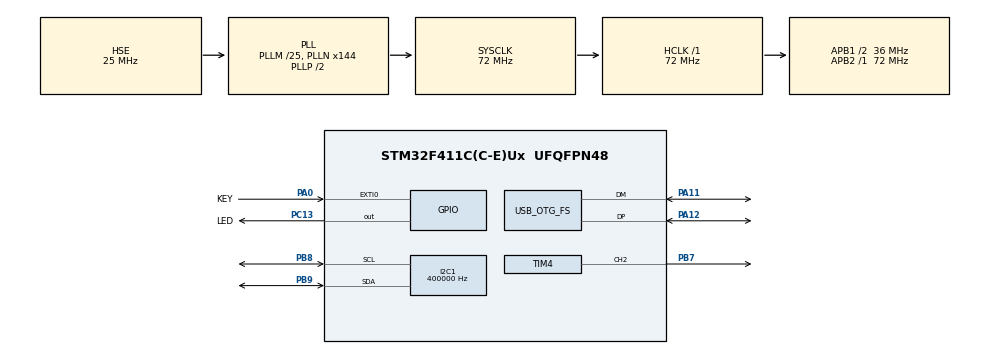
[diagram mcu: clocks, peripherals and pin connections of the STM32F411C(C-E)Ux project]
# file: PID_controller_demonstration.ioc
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Dma.I2C1_RX.0.Direction=DMA_PERIPH_TO_MEMORY
Dma.I2C1_RX.0.FIFOMode=DMA_FIFOMODE_DISABLE
Dma.I2C1_RX.0.Instance=DMA1_Stream0
Dma.I2C1_RX.0.MemDataAlignment=DMA_MDATAALIGN_BYTE
Dma.I2C1_RX.0.MemInc=DMA_MINC_ENABLE
Dma.I2C1_RX.0.Mode=DMA_NORMAL
Dma.I2C1_RX.0.PeriphDataAlignment=DMA_PDATAALIGN_BYTE
Dma.I2C1_RX.0.PeriphInc=DMA_PINC_DISABLE
Dma.I2C1_RX.0.Priority=DMA_PRIORITY_VERY_HIGH
Dma.Request0=I2C1_RX
I2C1.ClockSpeed=400000
I2C1.I2C_Mode=I2C_Fast
Mcu.Family=STM32F4
Mcu.Name=STM32F411C(C-E)Ux
Mcu.Package=UFQFPN48
NVIC.DMA1_Stream0_IRQn=true\:0\:0\:false\:false\:true\:false\:true\:true
NVIC.EXTI0_IRQn=true\:0\:0\:false\:false\:true\:true\:true\:true
NVIC.FLASH_IRQn=true\:0\:0\:false\:false\:true\:true\:true\:true
NVIC.FPU_IRQn=true\:0\:0\:false\:false\:true\:true\:false\:true
NVIC.I2C1_ER_IRQn=true\:0\:0\:false\:false\:true\:true\:true\:true
NVIC.I2C1_EV_IRQn=true\:0\:0\:false\:false\:true\:true\:true\:true
NVIC.OTG_FS_IRQn=true\:0\:0\:false\:false\:true\:true\:true\:true
NVIC.PriorityGroup=NVIC_PRIORITYGROUP_4
NVIC.TIM3_IRQn=true\:0\:0\:false\:false\:true\:true\:true\:true
PA0-WKUP.GPIO_Label=KEY
PA0-WKUP.GPIO_ModeDefaultEXTI=GPIO_MODE_IT_RISING_FALLING
PA0-WKUP.GPIO_PuPd=GPIO_PULLUP
PA0-WKUP.Signal=GPXTI0
PA11.Mode=Device_Only
PA11.Signal=USB_OTG_FS_DM
PA12.Mode=Device_Only
PA12.Signal=USB_OTG_FS_DP
PA13.Mode=Serial_Wire
PA13.Signal=SYS_JTMS-SWDIO
PA14.Mode=Serial_Wire
PA14.Signal=SYS_JTCK-SWCLK
PB7.Signal=S_TIM4_CH2
PB8.GPIO_Pu=GPIO_PULLUP
PB8.Mode=I2C
PB8.Signal=I2C1_SCL
PB9.GPIO_Pu=GPIO_PULLUP
PB9.Mode=I2C
PB9.Signal=I2C1_SDA
PC13-ANTI_TAMP.GPIO_Label=LED
PC13-ANTI_TAMP.GPIO_ModeDefaultOutputPP=GPIO_MODE_OUTPUT_OD
PC13-ANTI_TAMP.Signal=GPIO_Output
PH0\ -\ OSC_IN.Mode=HSE-External-Oscillator
PH0\ -\ OSC_IN.Signal=RCC_OSC_IN
PH1\ -\ OSC_OUT.Mode=HSE-External-Oscillator
PH1\ -\ OSC_OUT.Signal=RCC_OSC_OUT
ProjectManager.HeapSize=0x200
ProjectManager.StackSize=0x400
ProjectManager.TargetToolchain=MDK-ARM V5.32
RCC.48MHZClocksFreq_Value=48000000
RCC.AHBFreq_Value=72000000
RCC.APB1CLKDivider=RCC_HCLK_DIV2
RCC.APB1Freq_Value=36000000
RCC.APB1TimFreq_Value=72000000
RCC.APB2Freq_Value=72000000
RCC.APB2TimFreq_Value=72000000
RCC.CortexFreq_Value=72000000
RCC.HCLKFreq_Value=72000000
RCC.HSE_VALUE=25000000
RCC.HSI_VALUE=16000000
RCC.LSE_VALUE=32768
RCC.PLLM=25
RCC.PLLN=144
RCC.PLLQ=3
RCC.SYSCLKFreq_VALUE=72000000
RCC.SYSCLKSource=RCC_SYSCLKSOURCE_PLLCLK
RCC.VCOOutputFreq_Value=144000000
SH.S_TIM4_CH2.0=TIM4_CH2,PWM Generation2 CH2
TIM3.Prescaler=72-1
TIM4.AutoReloadPreload=TIM_AUTORELOAD_PRELOAD_DISABLE
TIM4.Channel-PWM\ Generation2\ CH2=TIM_CHANNEL_2
TIM4.Period=0
TIM4.Prescaler=6-1
TIM4.Pulse-PWM\ Generation2\ CH2=0
USB_DEVICE.CLASS_NAME_FS=CDC
USB_DEVICE.VirtualMode=Cdc
USB_DEVICE.VirtualModeFS=Cdc_FS
USB_OTG_FS.VirtualMode=Device_Only
VP_TIM3_VS_ClockSourceINT.Mode=Internal
VP_TIM4_VS_ClockSourceINT.Mode=Internal
VP_USB_DEVICE_VS_USB_DEVICE_CDC_FS.Mode=CDC_FS
board=custom

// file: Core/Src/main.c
/* USER CODE BEGIN Header */
/**
  ******************************************************************************
  * @file           : main.c
  * @brief          : Main program body
  ******************************************************************************
  * @attention
  *
  * <h2><center>&copy; Copyright (c) 2024 STMicroelectronics.
  * All rights reserved.</center></h2>
  *
  * This software component is licensed by ST under BSD 3-Clause license,
  * the "License"; You may not use this file except in compliance with the
  * License. You may obtain a copy of the License at:
  *                        opensource.org/licenses/BSD-3-Clause
  *
  ******************************************************************************
  */
/* USER CODE END Header */
#include "main.h"
#include "dma.h"
#include "i2c.h"
#include "tim.h"
#include "usb_device.h"
#include "gpio.h"

/* USER CODE BEGIN Includes */
#include <stdio.h>
#include <string.h>
#include <math.h>
#include "MATRIX.h"
#include "MICROS.h"
#include "MPU6050.h"
#include "usbd_cdc.h"
#include "usbd_cdc_if.h"

#include "dsp/fast_math_functions.h"

/* USER CODE END Includes */

/* USER CODE BEGIN PV */

float ACx, ACy, ACz, GYx, GYy, GYz, GYxPrev, GYyPrev, GYzPrev, MAGx, MAGy, MAGz,
	accTotal, gyroTotal, magTotal,
	beamAngle, beamAngleTau = 0.001;
uint8_t accGyroMagOverload;
const uint16_t PCazimuth = 345;

struct microsPeriod cyclePeriod = {0, 0}, accGyroPeriod = {0, 0};

const uint16_t timMin = 12000, timMax = 24000, timSpan = timMax - timMin;
//float kp = 10, ki = 0.001, kd = 5, ks = 700;
float kp = 1.2964, ki = 2, kd = 0.1604, ks = 700;
float P = 0, I = 0, D = 0, S = 0;
float reqAngle = 90, error = 0;
float Ilim = 2;
float Plim = 1;
float Dsigma = 45;
float PIDsumTau = 0.001, PIDsum = 0, PIDnormedKoef = 0, PIDsumTmp = 0, thrustPortion = 0;
float accWeight = 2e-04;

MPU6050_DATA_STRUCTURE MPU6050entity1 = {
	.i2cHandle = &hi2c1, .i2cAddress = 0x68<<1,
	.accRawDataBuffer = {0}, .gyroRawDataBuffer = {0},
	.MPU6050state = 0, .overload = 0,
	.accRequestPeriodUs = 10000, .gyroRequestPeriodUs = 2000,
	.accPrevRequestUs = 0, .gyroPrevRequestUs = 0,
	.filterTauUs = 1000, .accPrevFilterUs = 0, .gyroPrevFilterUs = 0,
	.processedDataReady = 0,
	.accDataRequest = 0, .gyroDataRequest = 0,
	.compensatorACx = {1, 0}, .compensatorACy = {1, 0}, .compensatorACz = {1, 0},
	.compensatorGYx = {1, 0}, .compensatorGYy = {1, 0}, .compensatorGYz = {1, 0},
	.ACx = 0, .ACy = 0, .ACz = 0, .GYx = 0, .GYy = 0, .GYz = 0
	#ifdef DEBUG
	, .accMesCnt = 0, .gyroMesCnt = 0,.initMicros = 0
	#endif
};

#define RX_BUF_SIZE 64
const uint8_t RxBufSize = RX_BUF_SIZE;
uint8_t RxBuf[RX_BUF_SIZE], protectFromWrite = 0, RxPayload[RX_BUF_SIZE];

typedef enum{
	STAGE_DEINIT = 0,
	STAGE_WAITING_FOR_START,
	STAGE_PREPARING,
	STAGE_RUNNING,
	STAGE_STOPPING,
	STAGE_RESTART,
} STAGES;
STAGES stage;

typedef enum{
	COMMAND_NONE,
	COMMAND_RESTART,
	COMMAND_RUN,
	COMMAND_STOP,
	COMMAND_CHANGE_VALUE
} COMMAND;
COMMAND command;

/* USER CODE END PV */

void SystemClock_Config(void);
/* USER CODE BEGIN PFP */
void transmitBasis(float* floatArray, uint64_t time, uint8_t overload);
void transmitBeamAngle(float angle, float P, float I, float D, uint64_t time);
void initState(struct matrix *basis, struct matrix *gravity, struct matrix* north);
void restoreVertical(struct matrix* bas, struct matrix* grav, struct matrix* acc);
void PID(uint64_t time);
/* USER CODE END PFP */

int main(void)
{

  /* MCU Configuration--------------------------------------------------------*/

  /* Reset of all peripherals, Initializes the Flash interface and the Systick. */
  HAL_Init();

  /* Configure the system clock */
  SystemClock_Config();

  /* Initialize all configured peripherals */
  MX_GPIO_Init();
  MX_I2C1_Init();
  MX_DMA_Init();
  MX_TIM4_Init();
  MX_USB_DEVICE_Init();
  MX_TIM3_Init();
  /* USER CODE BEGIN 2 */
	microsInit(&htim3, 72000000);	// start micros timer

	htim4.Instance->PSC = 5;
	htim4.Instance->ARR = 48000;
	htim4.Instance->CCR2 = 0;
	HAL_TIM_PWM_Start(&htim4, TIM_CHANNEL_2);
//	HAL_Delay(1000);
//	htim4.Instance->CCR2 = 1000;

	// startup the sensor, assign pointers of ACC, GYRO, MAG and overload flag variables
	MPU6050setup(&MPU6050entity1);

	struct matrix accVec,	gyroVec, magVec, rotMatrix, basis, gravityVec, northVec, velocityVec, coordinate, basisStep1, basisStep1Inv, plug, transitionMatrix;

	matrixZeroes(&accVec , 3, 1);
	matrixZeroes(&gyroVec , 3, 1);
	matrixZeroes(&magVec , 3, 1);
	matrixZeroes(&rotMatrix , 3, 3);
	matrixEye(&basis, 3);
	matrixZeroes(&gravityVec, 3,1);
	matrixZeroes(&northVec, 3, 1);
	matrixZeroes(&velocityVec, 3,1);
	matrixZeroes(&coordinate, 3, 1);
	matrixZeroes(&basisStep1, 3, 3);
	matrixZeroes(&basisStep1Inv, 3, 3);
	matrixZeroes(&plug, 3, 3);
	matrixZeroes(&transitionMatrix, 3, 3);

	matrixSE(&northVec, 0, 0, 1);
//	matrixRotZ(&northVec, PCazimuth);
	// indication before the ongoing calibration. Sensor should be kept still!
	HAL_Delay(500);
	for(uint8_t v = 0; v<10; v++){
		HAL_GPIO_TogglePin(LED_GPIO_Port, LED_Pin);
		HAL_Delay(150);
	}
	HAL_GPIO_WritePin(LED_GPIO_Port, LED_Pin, GPIO_PIN_RESET);
	HAL_Delay(1000);
	HAL_GPIO_WritePin(LED_GPIO_Port, LED_Pin, GPIO_PIN_SET);

	gyroMeasureOffset(&MPU6050entity1);
	microsStart(&accGyroPeriod);
	htim4.Instance->CCR2 = 12000;

  /* USER CODE END 2 */

  /* Infinite loop */
  /* USER CODE BEGIN WHILE */

  while (1)
  {
		static float periodS;
		static uint32_t ledToggleCnt = 0;
		static uint8_t newAngleReady = 0;

		switch (stage){
			case STAGE_DEINIT:{
				initState(&basis, &gravityVec, &northVec);

				matrixCopy(&basis, &basisStep1);
				matrixInvOrth(&basisStep1, &basisStep1Inv);
				stage = STAGE_WAITING_FOR_START;
			} break;
			case STAGE_WAITING_FOR_START:{
				if (HAL_GPIO_ReadPin(KEY_GPIO_Port, KEY_Pin) == GPIO_PIN_RESET)
					stage = STAGE_PREPARING;
			} break;
			case STAGE_PREPARING:{
				static uint8_t isPreparing = 0;
				static uint64_t prepatingStartTime = 0;
				if ( isPreparing == 0){
					isPreparing = 1;
					prepatingStartTime = micros();
					htim4.Instance->CCR2 = 13050;
				}
				else if (micros() - prepatingStartTime > 10000000){
					isPreparing = 0;
					stage = STAGE_RUNNING;
				}
			} break;
			case STAGE_RUNNING:{
				if (newAngleReady){
					PID(micros());
					newAngleReady = 0;
				}
			} break;
			case STAGE_STOPPING:{
				static uint8_t isStopping = 0;
				static uint64_t stoppingTime = 0;
				if ( isStopping == 0){
					isStopping = 1;
					stoppingTime = micros();
				}
				else if (micros() - stoppingTime > 10000){
					stoppingTime = micros();
					htim4.Instance->CCR2 -= 5;
				}
				if (htim4.Instance->CCR2 < 13050){
					stage = STAGE_WAITING_FOR_START;
					isStopping = 0;
				}
			} break;
			case STAGE_RESTART:{
				static uint8_t isRestarting = 0;
				static uint64_t restartingTime = 0;
				if ( isRestarting == 0){
					isRestarting = 1;
					htim4.Instance->CCR2 = 12000;
					restartingTime = micros();
				} else if (micros() - restartingTime > 10000000){
					isRestarting = 0;
					stage = STAGE_DEINIT;
				}
			}break;
		};

		MPU6050_cycle(&MPU6050entity1, micros());

		if ( MPU6050_ACC_isReady(&MPU6050entity1) == 1 ){
			matrixSE(&accVec, 0, 0, MPU6050entity1.ACx);
			matrixSE(&accVec, 1, 0, MPU6050entity1.ACy);
			matrixSE(&accVec, 2, 0, MPU6050entity1.ACz);
			accTotal = matrixVecLen(&accVec);

			matrixMultiply(&basis, &accVec, &accVec);
			restoreVertical(&basis, &gravityVec, &accVec);
			matrixSum(&accVec, &gravityVec, &accVec);
		}

		if ( MPU6050_ACC_isReady(&MPU6050entity1) == 1 ){
			matrixSE(&accVec, 0, 0, MPU6050entity1.ACx);
			matrixSE(&accVec, 1, 0, MPU6050entity1.ACy);
			matrixSE(&accVec, 2, 0, MPU6050entity1.ACz);
			accTotal = matrixVecLen(&accVec);

			matrixMultiply(&basis, &accVec, &accVec);
			restoreVertical(&basis, &gravityVec, &accVec);
			matrixSum(&accVec, &gravityVec, &accVec);
		}

		if( MPU6050_GYRO_isReady(&MPU6050entity1) == 1){
			float GYxTmp, GYyTmp, GYzTmp;
			float beamAngleTmp;

			microsUpdate(&accGyroPeriod);
			periodS = (float) accGyroPeriod.period*1e-6;
			// Линейная интерполяция
			GYxTmp = (MPU6050entity1.GYx+GYxPrev)/2 * periodS;
			GYyTmp = (MPU6050entity1.GYy+GYyPrev)/2 * periodS;
			GYzTmp = (MPU6050entity1.GYz+GYzPrev)/2 * periodS;
			GYxPrev = MPU6050entity1.GYx;
			GYyPrev = MPU6050entity1.GYy;
			GYzPrev = MPU6050entity1.GYz;

			matrixRot3D(&rotMatrix, GYxTmp, GYyTmp, GYzTmp);
			matrixMultiply(&basis, &rotMatrix, &basis);

			matrixMultiply(&basis, &basisStep1Inv, &transitionMatrix);
			beamAngleTmp = rad2deg*matrixRotMatrixRotAngle(&transitionMatrix);

			beamAngle = beamAngleTmp + 2.19; // 2.19 градусов - смещение свободно висящего луча
			newAngleReady = 1;
		}

		transmitBeamAngle(beamAngle, P, I, D, micros());

		if (protectFromWrite == 1){
			switch (RxBuf[0] - '0'){
				case 0:
					command = COMMAND_RUN;
					break;
				case 1:
					command = COMMAND_STOP;
					break;
				case 2:
					command = COMMAND_RESTART;
					break;
				case 3:
					command = COMMAND_CHANGE_VALUE;
					memcpy(RxPayload, RxBuf, strlen((char*)RxBuf));
					break;
			}
			protectFromWrite = 0;
		}

		if (command != COMMAND_NONE){
			switch (command){
				case COMMAND_NONE:
					break;
				case COMMAND_STOP:
					if (stage == STAGE_RUNNING)
						stage = STAGE_STOPPING;
					break;
				case COMMAND_RESTART:
					if (stage == STAGE_WAITING_FOR_START)
						stage = STAGE_RESTART;
					break;
				case COMMAND_RUN:
					if (stage == STAGE_WAITING_FOR_START)
						stage = STAGE_PREPARING;
					break;
				case COMMAND_CHANGE_VALUE:
					switch (RxPayload[1] - '0'){
						case 0:
							sscanf((char*)(RxPayload+2), "%f", &reqAngle);
							break;
						case 1:
							sscanf((char*)(RxPayload+2), "%f", &kp);
							break;
						case 2:
							sscanf((char*)(RxPayload+2), "%f", &ki);
							break;
						case 3:
							sscanf((char*)(RxPayload+2), "%f", &kd);
							break;
					}
					break;
			}
			command = COMMAND_NONE;
		}

		if(ledToggleCnt == 10000){// I hope this can indicate the load of the CPU
				HAL_GPIO_TogglePin(LED_GPIO_Port, LED_Pin);
				ledToggleCnt = 0;
		}
		ledToggleCnt++;

		microsUpdate(&cyclePeriod);
    /* USER CODE END WHILE */

  }
}

void SystemClock_Config(void)
{
  RCC_OscInitTypeDef RCC_OscInitStruct = {0};
  RCC_ClkInitTypeDef RCC_ClkInitStruct = {0};

  /** Configure the main internal regulator output voltage
  */
  __HAL_RCC_PWR_CLK_ENABLE();
  __HAL_PWR_VOLTAGESCALING_CONFIG(PWR_REGULATOR_VOLTAGE_SCALE1);
  /** Initializes the RCC Oscillators according to the specified parameters
  * in the RCC_OscInitTypeDef structure.
  */
  RCC_OscInitStruct.OscillatorType = RCC_OSCILLATORTYPE_HSE;
  RCC_OscInitStruct.HSEState = RCC_HSE_ON;
  RCC_OscInitStruct.PLL.PLLState = RCC_PLL_ON;
  RCC_OscInitStruct.PLL.PLLSource = RCC_PLLSOURCE_HSE;
  RCC_OscInitStruct.PLL.PLLM = 25;
  RCC_OscInitStruct.PLL.PLLN = 144;
  RCC_OscInitStruct.PLL.PLLP = RCC_PLLP_DIV2;
  RCC_OscInitStruct.PLL.PLLQ = 3;
  if (HAL_RCC_OscConfig(&RCC_OscInitStruct) != HAL_OK)
  {
    Error_Handler();
  }
  /** Initializes the CPU, AHB and APB buses clocks
  */
  RCC_ClkInitStruct.ClockType = RCC_CLOCKTYPE_HCLK|RCC_CLOCKTYPE_SYSCLK
                              |RCC_CLOCKTYPE_PCLK1|RCC_CLOCKTYPE_PCLK2;
  RCC_ClkInitStruct.SYSCLKSource = RCC_SYSCLKSOURCE_PLLCLK;
  RCC_ClkInitStruct.AHBCLKDivider = RCC_SYSCLK_DIV1;
  RCC_ClkInitStruct.APB1CLKDivider = RCC_HCLK_DIV2;
  RCC_ClkInitStruct.APB2CLKDivider = RCC_HCLK_DIV1;

  if (HAL_RCC_ClockConfig(&RCC_ClkInitStruct, FLASH_LATENCY_2) != HAL_OK)
  {
    Error_Handler();
  }
}

/* USER CODE BEGIN 4 */
// this fcn is needed to orient the MPU sensor
void initState(struct matrix *basis, struct matrix *gravity, struct matrix* north){
	struct matrix	rotVec, Rinit, acc, imGravity, magInit;
	float c, s, lx, ly, lz, theta;
	uint8_t magCnt = 0;

	matrixZeroes(&rotVec, 3,1);
	matrixZeroes(&Rinit, 3,3);
	matrixZeroes(&acc, 3,1);
	matrixZeroes(&imGravity, 3,1);
	matrixZeroes(&magInit, 3, 1);
	// acquisition ACC meawurements
	for(uint8_t i = 0; i < 100; i++){

		while (MPU6050_ACC_isReady(&MPU6050entity1) == 0)
			MPU6050_cycle(&MPU6050entity1, micros());

		acc.arr[0] += MPU6050entity1.ACx;
		acc.arr[1] += MPU6050entity1.ACy;
		acc.arr[2] += MPU6050entity1.ACz;
	}
	//// vertical alignment
	matrixMultiplyByNumb(&acc, gravity, -0.01);
	imGravity.arr[2] = -matrixVecLen(gravity);
	matrixCross(gravity, &imGravity, &rotVec);
	matrixNormVec(&rotVec, &rotVec);

	theta = acosf(matrixDot(gravity, &imGravity)/(matrixVecLen(&imGravity)*matrixVecLen(gravity)));
	matrixRotArbVec(&Rinit, &rotVec, theta);

	matrixMultiply(&Rinit, basis , basis);
	matrixMultiply(basis, gravity, gravity);

	//// azimuth alignment
/*	matrixMultiplyByNumb(&magInit, &magInit, (float) 1/magCnt);
	matrixMultiply(basis, &magInit, &magInit);
	magInit.arr[2] = 0;
	matrixNormVec(&magInit, &magInit);
	theta = -matrixVecAzimuth(north, &magInit);

	matrixSE(&Rinit,	0,	0, cos(theta));
	matrixSE(&Rinit,	0,	1, -sin(theta));
	matrixSE(&Rinit,	0,	2, 0);
	matrixSE(&Rinit,	1,	0, sin(theta));
	matrixSE(&Rinit,	1,	1, cos(theta));
	matrixSE(&Rinit,	1,	2, 0);
	matrixSE(&Rinit,	2,	0, 0);
	matrixSE(&Rinit,	2,	1, 0);
	matrixSE(&Rinit,	2,	2, 1);

	matrixMultiply(&Rinit, basis , basis);*/
}

// allign vertical orientation to mitigate drift of gyro sensors or after a loss of angles due to overload
void restoreVertical(struct matrix* bas, struct matrix* grav, struct matrix* acc){
	struct matrix	rotVec, Rinit;
	float accLen, angle;

	matrixZeroes(&rotVec, 3,1);
	matrixZeroes(&Rinit, 3,3);
	accLen = matrixVecLen(acc);

	if( accLen > 9 && accLen <  11){
		matrixCross(acc, grav, &rotVec);
		matrixNormVec(&rotVec, &rotVec);
		angle = -acos(-matrixDot(acc, grav)/(accLen*matrixVecLen(grav)));
//		if( angle < -0.03 || angle > 0.03){
			matrixRotArbVec(&Rinit, &rotVec, angle*accWeight);
			matrixMultiply(&Rinit, bas, bas);
//		}
	}
}

// transmits array of vectors and sensor overload flag to PC via COM
void transmitBasis(float* floatArray, uint64_t time, uint8_t overload){
	static uint64_t prewTime = 0;
	if(time - prewTime < 50000) return;

	uint8_t data[10];

	prewTime = time;
	for(uint8_t i = 0; i<9; i++){
		data[i] = (int8_t) (floatArray[i]*100);
	}
	data[9] = overload;

	CDC_Transmit_FS(data, 10);
}

void transmitBeamAngle(float angle, float P, float I, float D, uint64_t time){
	static uint64_t prewTime = 0;
	static uint8_t data[20];
	static uint8_t counter = 0;

	if(time - prewTime < 5000) return;
	angle = angle*200;
	data[1] = ((uint16_t)(angle)>>8)&0x00ff;
	data[0] = ((uint16_t)(angle))&0x00ff;
	P = P*1000;
	data[3] = ((uint16_t)(P)>>8)&0x00ff;
	data[2] = ((uint16_t)(P))&0x00ff;
	I = I*1000;
	data[5] = ((uint16_t)(I)>>8)&0x00ff;
	data[4] = ((uint16_t)(I))&0x00ff;
	D = D*1000;
	data[7] = ((uint16_t)(D)>>8)&0x00ff;
	data[6] = ((uint16_t)(D))&0x00ff;

	data[9] = ((uint16_t)(PIDsum*1000)>>8)&0x00ff;
	data[8] = ((uint16_t)(PIDsum*1000))&0x00ff;
//	counter ++;
	prewTime = time;
	CDC_Transmit_FS(data, 10);

//	if (counter == 10){
//		CDC_Transmit_FS(data, 20);
//		counter = 0;
//	}
}

void PID(uint64_t time){
	static uint64_t prewTime = 0;
	static uint64_t PIDperiod = 0;
	static float periodSPID;
	static uint8_t firstIteration = 1;
	static float anglePrev = 0, da = 0;
	static uint16_t cnt = 0;

	if (firstIteration){
		error = reqAngle - beamAngle;
		firstIteration = 0;
		anglePrev = beamAngle;
		prewTime = time;
		return;
	}

	PIDperiod = (time - prewTime);
//	if(PIDperiod < 1000) return;
	prewTime = time;

	cnt ++;

	if(cnt == 0xFFFF)
		return;

	periodSPID = 1.0e-6*PIDperiod;
	if (periodSPID > 1)
		return;

	error = reqAngle - beamAngle;
	S = +ks*sin(deg2rad*reqAngle);
	P = 	kp*deg2rad*error;
//	P = (P > Plim) ? Plim : P;
//	P = (P < -Plim) ? -Plim: P;
	I += 	ki*periodSPID*deg2rad*error;
	I = (I > Ilim) ? Ilim : I;
	I = (I < -Ilim) ? -Ilim: I;

	da = beamAngle-anglePrev;
	anglePrev = beamAngle;
	float DTmp = kd*deg2rad*da/periodSPID;
//	D = kd*da*fabs(da)/periodS * exp(-pow(error/Dsigma, 2));

//	if (da >= 0)
//		D = kd*da/periodS;
//	else
//		D = kd*da/periodS * exp(-pow(error/Dsigma, 2));

//	PIDsumTmp = (P+I-D+S)/1000;
	D = (fabs(D) < 1e-20) ? ((D>=0)? 1e-20 : -1e-20) : D; // защита от ошибки процессора
	float DnormedKoef = periodSPID/(PIDsumTau+periodSPID);
	D = DnormedKoef*DTmp+(1-DnormedKoef)*D;

	PIDsum = (P+I-D);

	PIDsum = (PIDsum > 1) ? 1 : PIDsum;
	PIDsum = (PIDsum < 0.1) ? 0.1 : PIDsum;

//	PIDsumTmp = (PIDsumTmp < 1e-20) ? 1e-20: PIDsumTmp; // защита от ошибки процессора
//	PIDnormedKoef = periodSPID/(PIDsumTau+periodSPID);
//	PIDsum = PIDnormedKoef*PIDsumTmp+(1-PIDnormedKoef)*PIDsum;

//	PIDsum = PIDsumTmp;

	thrustPortion = 3.88493*powf(PIDsum, 0.9859) -3.4705*PIDsum + 0.0306;

	htim4.Instance->CCR2 = (uint16_t)(thrustPortion * timSpan + timMin);

}

/* USER CODE END 4 */

void Error_Handler(void)
{
  __disable_irq();
  while (1)
  {
  }
}

/************************ (C) COPYRIGHT STMicroelectronics *****END OF FILE****/
